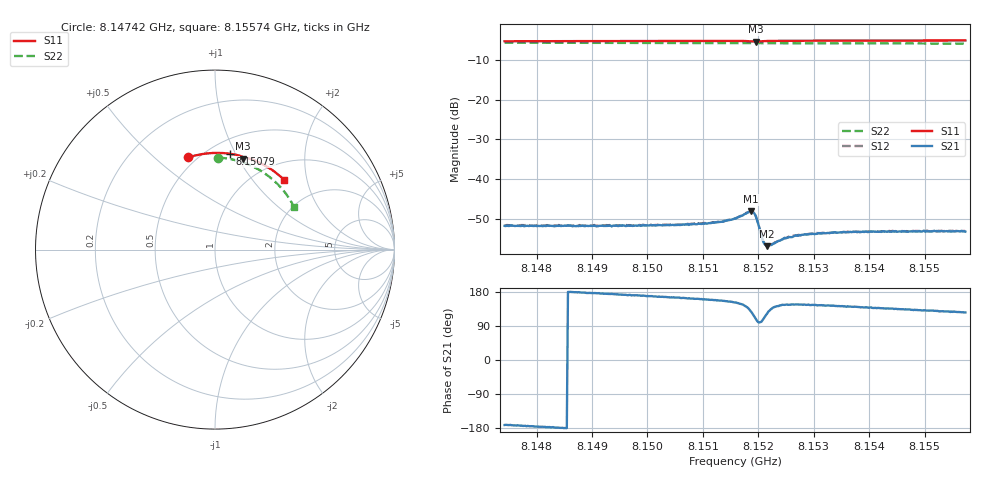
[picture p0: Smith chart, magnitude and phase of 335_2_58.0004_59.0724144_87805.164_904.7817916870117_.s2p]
#  HZ  S  RI  R  50.00
! Rohde & Schwarz Vector Network Analyzer
! Rohde-Schwarz,ZNB20-2Port,1311601062101988,3.16
! Created: UTC 3/21/2024, 1:05:16 AM
! freq[Hz]  re:S11  im:S11  re:S21  im:S21  re:S12  im:S12  re:S22  im:S22
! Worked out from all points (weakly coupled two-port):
!   401 points, 8.14742 GHz to 8.15574 GHz, reference 50 ohm
!   highest |S21| = -47.99 dB at 8.15187 GHz (marker M1); lowest = -56.7 dB at 8.15216 GHz (marker M2)
!   lowest |S11| = -5.5 dB at 8.15195 GHz (marker M3), VSWR 3.26, Z = 37.2 + j52.4 ohm
!   |S11| at or under -10 dB: nowhere
!   |S22| runs from -6.0 to -5.8 dB; largest |S21 - S12| = 0.00013
!   S11 on the Smith chart (normalised r, x): 8.14742 GHz: 0.45, +0.65; 8.15079 GHz: 0.63, +0.95; 8.15574 GHz: 1.32, +1.47
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8.147424e9  -0.149 0.5136  -0.0026 -0.000388  -0.00265 -0.000353  0.0183 0.5126
8.148816e9  -0.054 0.5344  -0.00263 8.47e-05  -0.00265 0.000141  0.1079 0.4999
8.150208e9  0.0428 0.5379  -0.00263 0.00059  -0.00266 0.000623  0.1932 0.4716
8.15079e9  0.0832 0.5339  -0.00262 0.000842  -0.00266 0.000881  0.2268 0.4554
8.151268e9  0.1169 0.5282  -0.0027 0.00112  -0.00271 0.00118  0.2535 0.4403
8.15158e9  0.139 0.5225  -0.00287 0.00152  -0.00285 0.00157  0.2702 0.4294
8.151808e9  0.1556 0.5139  -0.00288 0.00258  -0.00282 0.00267  0.2822 0.421
8.151871e9  0.1583 0.5099  -0.00242 0.00316  -0.00239 0.00323  0.2853 0.4187
8.151912e9  0.1585 0.5073  -0.00184 0.00342  -0.00175 0.0035  0.2874 0.4171
8.151954e9  0.1576 0.5064  -0.00108 0.00331  -0.00104 0.00334  0.2893 0.4156
8.151995e9  0.1573 0.5075  -0.000497 0.0028  -0.000472 0.00281  0.2914 0.4141
8.152079e9  0.1614 0.511  -0.000462 0.00168  -0.000397 0.00172  0.2956 0.4112
8.15212e9  0.1648 0.5119  -0.000642 0.0014  -0.000606 0.00142  0.2979 0.4098
8.152162e9  0.1682 0.5121  -0.000798 0.00123  -0.0008 0.00126  0.3 0.408
8.152224e9  0.1733 0.5116  -0.00104 0.00109  -0.00103 0.00109  0.303 0.4058
8.152453e9  0.1903 0.5077  -0.0015 0.00103  -0.00147 0.00106  0.3144 0.3963
8.152577e9  0.199 0.5048  -0.00158 0.00107  -0.00159 0.00109  0.3205 0.3915
8.152702e9  0.2075 0.5019  -0.00165 0.00108  -0.00165 0.00111  0.3265 0.3861
8.152972e9  0.2251 0.4947  -0.00172 0.00118  -0.00173 0.00121  0.339 0.3746
8.153699e9  0.2709 0.4727  -0.0017 0.00141  -0.00169 0.00143  0.3706 0.3415
8.154364e9  0.3102 0.4489  -0.00159 0.00155  -0.00161 0.0016  0.3967 0.309
8.155736e9  0.3841 0.3902  -0.00129 0.00181  -0.00128 0.00185  0.4412 0.2359
